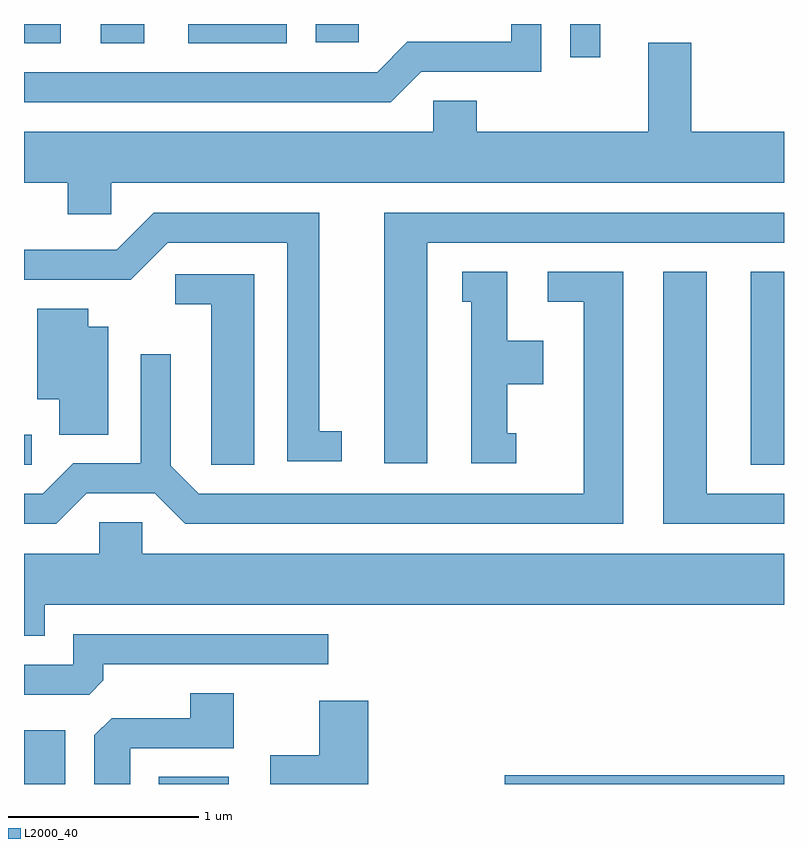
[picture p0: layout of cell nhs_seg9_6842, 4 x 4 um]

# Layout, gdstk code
import gdstk
lib = gdstk.Library(unit=1e-6, precision=1e-09)
def R(c, l, rs):  # rectangles x0, y0, x1, y1
    for r in rs: c.add(gdstk.rectangle(r[:2], r[2:], *l))
def P(c, l, *ps):  # polygons
    for p in ps: c.add(gdstk.Polygon(p, *l))
L2000_40 = (2000, 40)

nhs_seg9_6842 = lib.new_cell('nhs_seg9_6842')
R(nhs_seg9_6842, L2000_40, [(387.611,1986.432,387.829,1986.714), (388.321,1986.432,388.689,1986.469), (390.141,1986.432,391.611,1986.479), (387.611,1988.111,387.653,1988.269), (391.436,1988.111,391.611,1989.129), (390.486,1990.258,390.644,1990.432), (387.611,1990.331,387.804,1990.432), (388.016,1990.331,388.244,1990.432), (388.476,1990.331,388.994,1990.432), (389.146,1990.336,389.374,1990.432)])
P(nhs_seg9_6842, L2000_40, [(389.702,1990.181),(390.334,1990.181),(390.334,1990.432),(390.176,1990.432),(390.176,1990.339),(389.629,1990.339),(389.469,1990.179),(387.611,1990.179),(387.611,1990.021),(389.542,1990.021)],
  [(388.069,1989.596),(391.611,1989.596),(391.611,1989.864),(391.124,1989.864),(391.124,1990.334),(390.896,1990.334),(390.896,1989.864),(389.994,1989.864),(389.994,1990.029),(389.766,1990.029),(389.766,1989.864),(387.611,1989.864),(387.611,1989.596),(387.841,1989.596),(387.841,1989.431),(388.069,1989.431)],
  [(389.734,1989.281),(391.611,1989.281),(391.611,1989.439),(389.506,1989.439),(389.506,1988.121),(389.734,1988.121)],
  [(389.283,1988.289),(389.164,1988.289),(389.164,1989.439),(388.294,1989.439),(388.099,1989.244),(387.611,1989.244),(387.611,1989.086),(388.172,1989.086),(388.367,1989.281),(388.996,1989.281),(388.996,1988.131),(389.283,1988.131)],
  [(387.942,1987.961),(388.299,1987.961),(388.459,1987.801),(390.764,1987.801),(390.764,1989.129),(390.368,1989.129),(390.368,1988.971),(390.556,1988.971),(390.556,1987.959),(388.532,1987.959),(388.384,1988.107),(388.384,1988.693),(388.226,1988.693),(388.226,1988.119),(387.869,1988.119),(387.709,1987.959),(387.611,1987.959),(387.611,1987.801),(387.782,1987.801)],
  [(390.203,1988.279),(390.154,1988.279),(390.154,1988.536),(390.344,1988.536),(390.344,1988.764),(390.154,1988.764),(390.154,1989.129),(389.918,1989.129),(389.918,1988.971),(389.966,1988.971),(389.966,1988.121),(390.203,1988.121)],
  [(391.611,1987.959),(391.204,1987.959),(391.204,1989.129),(390.976,1989.129),(390.976,1987.801),(391.611,1987.801)],
  [(388.824,1989.114),(388.408,1989.114),(388.408,1988.956),(388.596,1988.956),(388.596,1988.111),(388.824,1988.111)],
  [(388.054,1988.839),(387.949,1988.839),(387.949,1988.934),(387.681,1988.934),(387.681,1988.456),(387.796,1988.456),(387.796,1988.271),(388.054,1988.271)],
  [(387.719,1987.376),(391.611,1987.376),(391.611,1987.644),(388.234,1987.644),(388.234,1987.809),(388.006,1987.809),(388.006,1987.644),(387.611,1987.644),(387.611,1987.211),(387.719,1987.211)],
  [(388.029,1986.977),(388.029,1987.061),(389.213,1987.061),(389.213,1987.219),(387.871,1987.219),(387.871,1987.059),(387.611,1987.059),(387.611,1986.901),(387.954,1986.901)],
  [(388.169,1986.621),(388.714,1986.621),(388.714,1986.909),(388.486,1986.909),(388.486,1986.779),(388.072,1986.779),(387.981,1986.689),(387.981,1986.432),(388.169,1986.432)],
  [(389.424,1986.869),(389.166,1986.869),(389.166,1986.584),(388.906,1986.584),(388.906,1986.432),(389.424,1986.432)])

lib.write_gds('nhs_seg9_6842.gds')
